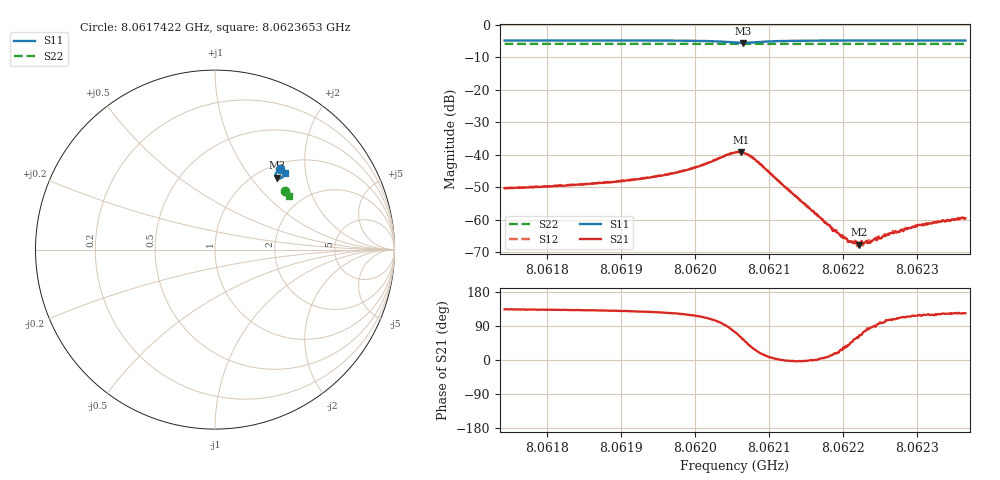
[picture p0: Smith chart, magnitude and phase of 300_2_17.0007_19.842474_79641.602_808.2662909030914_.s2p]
#  HZ  S  RI  R  50.00
! Rohde & Schwarz Vector Network Analyzer
! Rohde-Schwarz,ZNB20-2Port,1311601062101988,3.16
! Created: UTC 3/20/2024, 11:05:28 PM
! freq[Hz]  re:S11  im:S11  re:S21  im:S21  re:S12  im:S12  re:S22  im:S22
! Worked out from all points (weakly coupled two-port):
!   401 points, 8.0617422 GHz to 8.0623653 GHz, reference 50 ohm
!   highest |S21| = -39.15 dB at 8.0620615 GHz (marker M1); lowest = -67.7 dB at 8.062222 GHz (marker M2)
!   lowest |S11| = -5.5 dB at 8.0620647 GHz (marker M3), VSWR 3.25, Z = 61 + j68 ohm
!   |S11| at or under -10 dB: nowhere
!   |S22| runs from -5.9 to -5.8 dB; largest |S21 - S12| = 0.00085
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8.06174221e9  0.3607 0.4488  -0.00211 0.00221  -0.00196 0.00235  0.3923 0.3273
8.06184658e9  0.3681 0.4425  -0.00229 0.00259  -0.00219 0.00278  0.3962 0.3219
8.06191356e9  0.3734 0.4372  -0.00253 0.00319  -0.0024 0.0034  0.3989 0.3187
8.06195094e9  0.3767 0.4329  -0.00276 0.00384  -0.00254 0.00404  0.4003 0.3167
8.06200235e9  0.381 0.4216  -0.00285 0.00583  -0.00253 0.00605  0.4022 0.3137
8.06205376e9  0.3599 0.396  0.00303 0.0104  0.00368 0.0104  0.4026 0.3104
8.06206154e9  0.3492 0.3985  0.00542 0.00961  0.00612 0.00931  0.4024 0.3104
8.06206466e9  0.3453 0.4012  0.00619 0.00876  0.00692 0.00835  0.4023 0.3103
8.06207868e9  0.3378 0.4189  0.00762 0.00435  0.00792 0.00399  0.4029 0.3106
8.06215813e9  0.3677 0.4384  0.00136 -3.65e-05  0.00136 -0.000127  0.4071 0.3074
8.06218772e9  0.3725 0.4366  0.000664 0.000198  0.000669 0.000171  0.4082 0.3059
8.0622033e9  0.3746 0.4356  0.00041 0.000312  0.00043 0.000251  0.4089 0.3051
8.06221109e9  0.3755 0.4351  0.000314 0.000335  0.00034 0.00031  0.4092 0.3046
8.06222199e9  0.3767 0.4343  0.000169 0.000376  0.000242 0.000365  0.4096 0.304
8.06222978e9  0.3775 0.4339  9.9e-05 0.000435  0.000117 0.000426  0.4099 0.3036
8.06223601e9  0.378 0.4334  4.58e-05 0.000436  5.33e-05 0.000442  0.4101 0.3034
8.06223913e9  0.3783 0.4333  2.8e-05 0.000468  2.35e-05 0.000464  0.4103 0.3032
8.06224692e9  0.379 0.4327  -4.43e-05 0.000543  -3.64e-05 0.000518  0.4106 0.3027
8.06226249e9  0.3804 0.4317  -0.000171 0.000587  -0.00012 0.00058  0.411 0.3019
8.06228742e9  0.3825 0.4304  -0.000305 0.000658  -0.000271 0.000691  0.4121 0.3006
8.06230455e9  0.3838 0.4294  -0.000387 0.000734  -0.000334 0.000741  0.4126 0.2998
8.06236531e9  0.388 0.4259  -0.000578 0.000874  -0.000527 0.000932  0.415 0.2965
